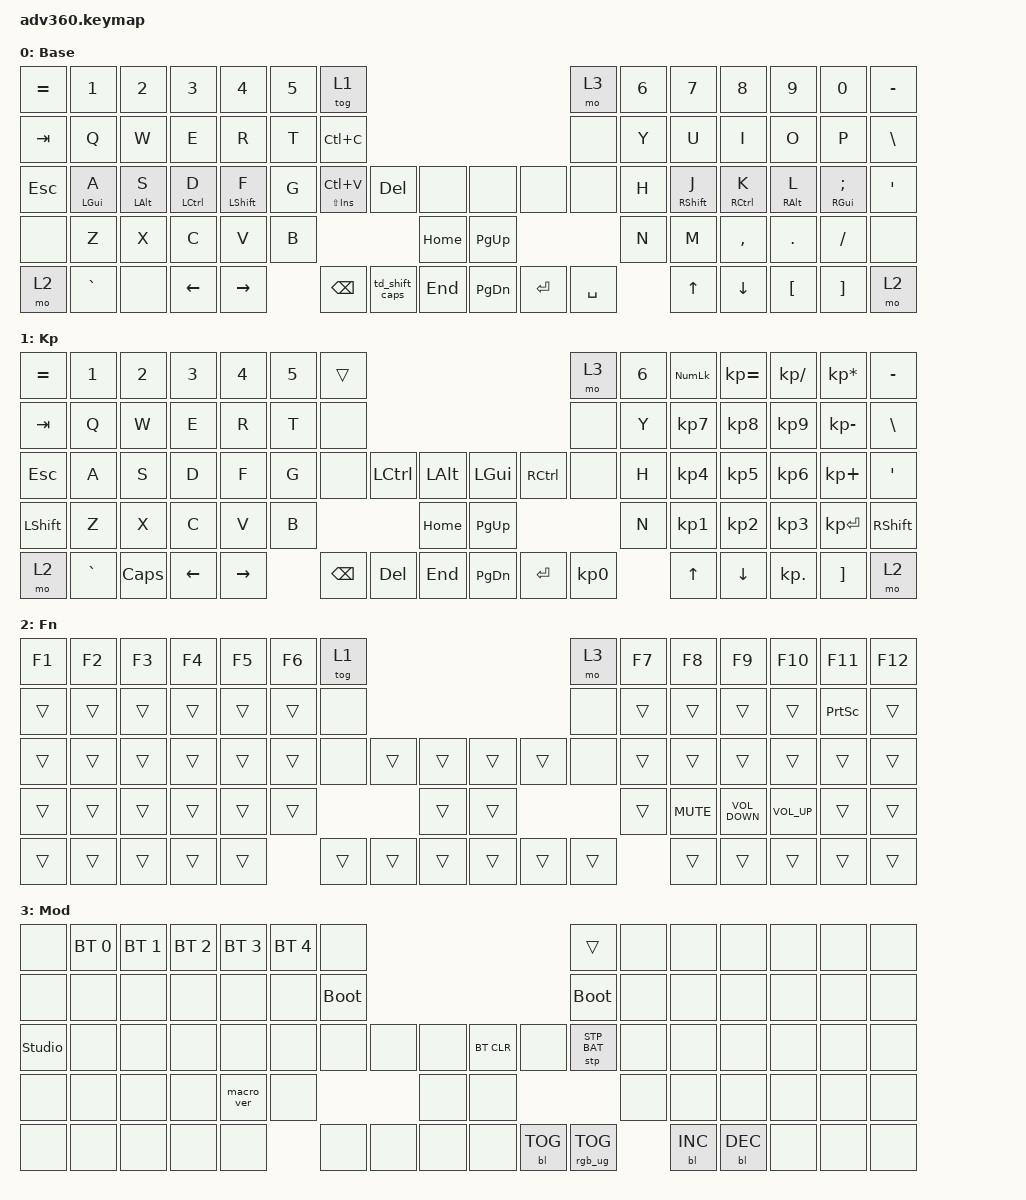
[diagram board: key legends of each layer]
#include <dt-bindings/zmk/stp.h>
#include <behaviors.dtsi>
#include <dt-bindings/zmk/backlight.h>
#include <dt-bindings/zmk/bt.h>
#include <dt-bindings/zmk/keys.h>
#include <dt-bindings/zmk/rgb.h>

/ {
    behaviors {
        #include "macros.dtsi"
      #include "version.dtsi"

        hm: homerow_mods {
            compatible = "zmk,behavior-hold-tap";
            label = "HOMEROW_MODS";
            #binding-cells = <2>;
            tapping-term-ms = <200>;
            quick_tap_ms = <175>;
            flavor = "tap-preferred";
            bindings = <&kp>, <&kp>;
        };

        hml: home_row_mod_left {
            compatible = "zmk,behavior-hold-tap";
            label = "Home_Row_Mod_Left";
            #binding-cells = <2>;
            tapping-term-ms = <280>;
            quick_tap_ms = <175>;
            flavor = "balanced";
            bindings = <&kp>, <&kp>;

            quick-tap-ms = <175>;
            require-prior-idle-ms = <150>;
            hold-trigger-key-positions = <7 8 9 10 11 12 13 21 22 23 24 25 26 27 37 38 39 40 41 42 43 44 45 53 54 55 56 57 58 59 68 69 70 71 72 73 74 75 35 36 52 65 66 67>;
            hold-trigger-on-release;
        };

        hmr: home_row_mod_right {
            compatible = "zmk,behavior-hold-tap";
            label = "Home_Row_Mod_Right";
            #binding-cells = <2>;
            tapping-term-ms = <280>;
            quick_tap_ms = <175>;
            flavor = "balanced";
            bindings = <&kp>, <&kp>;

            quick-tap-ms = <175>;
            require-prior-idle-ms = <150>;
            hold-trigger-key-positions = <0 1 2 3 4 5 6 14 15 16 17 18 19 20 28 29 30 31 32 33 34 35 36 46 47 48 49 50 51 52 60 61 62 63 64 65 66 67 37 38 53 68 69 70>;
            hold-trigger-on-release;
        };

        td_shift_caps: td_shift_caps {
            compatible = "zmk,behavior-tap-dance";
            label = "TD_SHIFT_CAPS";
            #binding-cells = <0>;
            bindings = <&kp LEFT_SHIFT>, <&kp CAPSLOCK>;
        };
    };

    keymap {
        compatible = "zmk,keymap";

        default_layer {
            display-name = "Base";
            bindings = <
&kp EQUAL  &kp N1           &kp N2           &kp N3        &kp N4             &kp N5  &tog 1                                                                    &mo 3      &kp N6  &kp N7              &kp N8        &kp N9            &kp N0                    &kp MINUS
&kp TAB    &kp Q            &kp W            &kp E         &kp R              &kp T   &kp LC(C)                                                                 &none      &kp Y   &kp U               &kp I         &kp O             &kp P                     &kp BSLH
&kp ESC    &hml LEFT_GUI A  &hml LEFT_ALT S  &hml LCTRL D  &hml LEFT_SHIFT F  &kp G   &mt LS(INSERT) LC(V)  &kp DELETE      &none         &none      &none      &none      &kp H   &hmr RIGHT_SHIFT J  &hmr RCTRL K  &hmr RIGHT_ALT L  &hmr RIGHT_GUI SEMICOLON  &kp SQT
&none      &kp Z            &kp X            &kp C         &kp V              &kp B                                         &kp HOME      &kp PG_UP                        &kp N   &kp M               &kp COMMA     &kp DOT           &kp FSLH                  &none
&mo 2      &kp GRAVE        &none            &kp LEFT      &kp RIGHT                  &kp BACKSPACE         &td_shift_caps  &kp END       &kp PG_DN  &kp ENTER  &kp SPACE          &kp UP              &kp DOWN      &kp LBKT          &kp RBKT                  &mo 2
            >;
        };

        keypad {
            display-name = "Kp";
            bindings = <
&kp EQUAL  &kp N1     &kp N2    &kp N3    &kp N4     &kp N5  &trans                                                   &mo 3      &kp N6  &kp KP_NUM  &kp KP_EQUAL  &kp KP_DIVIDE  &kp KP_MULTIPLY  &kp MINUS
&kp TAB    &kp Q      &kp W     &kp E     &kp R      &kp T   &none                                                    &none      &kp Y   &kp KP_N7   &kp KP_N8     &kp KP_N9      &kp KP_MINUS     &kp BSLH
&kp ESC    &kp A      &kp S     &kp D     &kp F      &kp G   &none     &kp LCTRL  &kp LALT      &kp LGUI   &kp RCTRL  &none      &kp H   &kp KP_N4   &kp KP_N5     &kp KP_N6      &kp KP_PLUS      &kp SQT
&kp LSHFT  &kp Z      &kp X     &kp C     &kp V      &kp B                        &kp HOME      &kp PG_UP                        &kp N   &kp KP_N1   &kp KP_N2     &kp KP_N3      &kp KP_ENTER     &kp RSHFT
&mo 2      &kp GRAVE  &kp CAPS  &kp LEFT  &kp RIGHT          &kp BSPC  &kp DEL    &kp END       &kp PG_DN  &kp ENTER  &kp KP_N0          &kp UP      &kp DOWN      &kp KP_DOT     &kp RBKT         &mo 2
            >;
        };

        fn {
            display-name = "Fn";
            bindings = <
&kp F1  &kp F2  &kp F3  &kp F4  &kp F5  &kp F6  &tog 1                                      &mo 3   &kp F7  &kp F8      &kp F9             &kp F10          &kp F11          &kp F12
&trans  &trans  &trans  &trans  &trans  &trans  &none                                       &none   &trans  &trans      &trans             &trans           &kp PRINTSCREEN  &trans
&trans  &trans  &trans  &trans  &trans  &trans  &none   &trans  &trans      &trans  &trans  &none   &trans  &trans      &trans             &trans           &trans           &trans
&trans  &trans  &trans  &trans  &trans  &trans                  &trans      &trans                  &trans  &kp C_MUTE  &kp C_VOLUME_DOWN  &kp C_VOLUME_UP  &trans           &trans
&trans  &trans  &trans  &trans  &trans          &trans  &trans  &trans      &trans  &trans  &trans          &trans      &trans             &trans           &trans           &trans
            >;
        };

        mod {
            display-name = "Mod";
            bindings = <
&none           &bt BT_SEL 0  &bt BT_SEL 1  &bt BT_SEL 2  &bt BT_SEL 3  &bt BT_SEL 4  &none                                                  &trans           &none  &none       &none       &none  &none  &none
&none           &none         &none         &none         &none         &none         &bootloader                                            &bootloader      &none  &none       &none       &none  &none  &none
&studio_unlock  &none         &none         &none         &none         &none         &none        &none  &none      &bt BT_CLR  &none       &stp STP_BAT     &none  &none       &none       &none  &none  &none
&none           &none         &none         &none         &macro_ver    &none                             &none      &none                                    &none  &none       &none       &none  &none  &none
&none           &none         &none         &none         &none                       &none        &none  &none      &none       &bl BL_TOG  &rgb_ug RGB_TOG         &bl BL_INC  &bl BL_DEC  &none  &none  &none
            >;
        };

        extra1 {
            display-name = "Red";
            status = "reserved";
        };

        extra2 {
            display-name = "Purple";
            status = "reserved";
        };

        extra3 {
            display-name = "Cyan";
            status = "reserved";
        };

        extra4 {
            display-name = "Yellow";
            status = "reserved";
        };
    };
};
